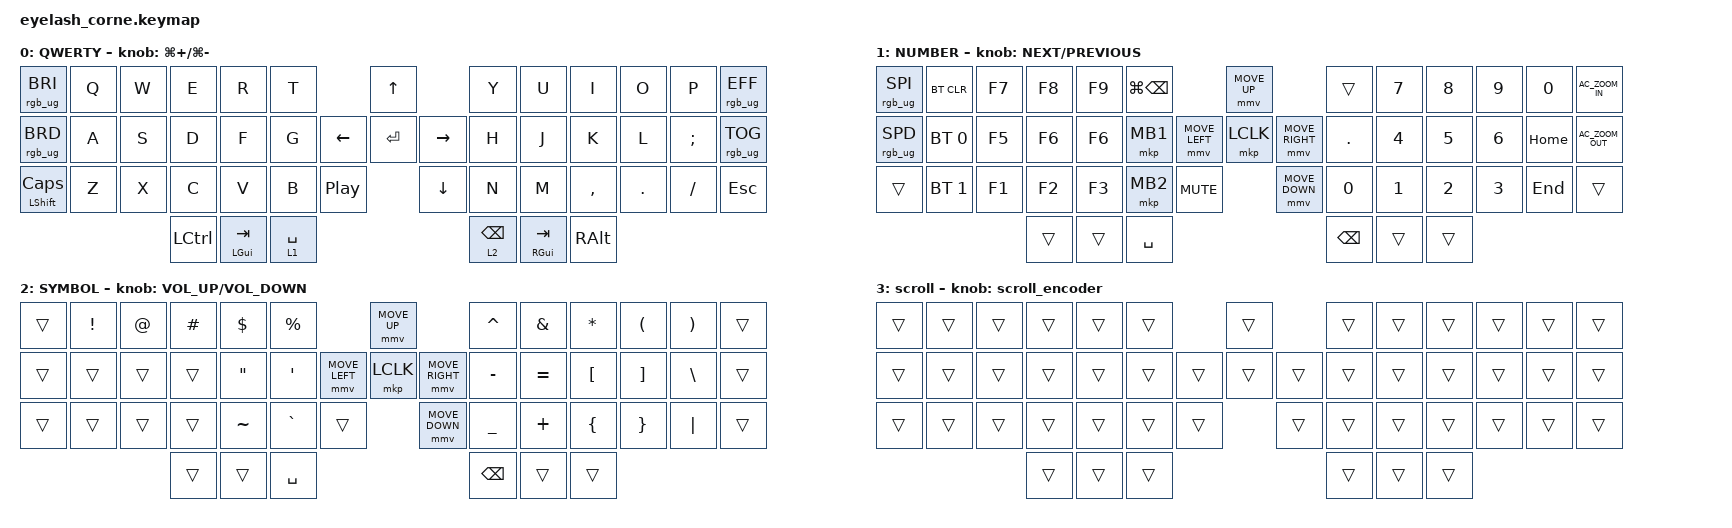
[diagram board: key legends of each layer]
#define ZMK_POINTING_DEFAULT_MOVE_VAL 600
#define ZMK_POINTING_DEFAULT_SCRL_VAL 10

#include <input/processors.dtsi>
#include <zephyr/dt-bindings/input/input-event-codes.h>
#include <behaviors.dtsi>
#include <dt-bindings/zmk/bt.h>
#include <dt-bindings/zmk/keys.h>
#include <dt-bindings/zmk/pointing.h>
#include <dt-bindings/zmk/rgb.h>

&mmv_input_listener { input-processors = <&zip_xy_scaler 2 1>; };

&msc_input_listener { input-processors = <&zip_scroll_scaler 2 1>; };

&msc {
    acceleration-exponent = <1>;      // 0
    time-to-max-speed-ms = <100>;       // 300
    delay-ms = <0>;                   // 0
};

&mmv {
    time-to-max-speed-ms = <500>;
    acceleration-exponent = <1>;
    trigger-period-ms = <16>;
};

&soft_off { hold-time-ms = <2000>; };

/ {
    behaviors {
        td0: td0 {
            compatible = "zmk,behavior-tap-dance";
            display-name = "Shift/Caps Lock Tap Dance";
            #binding-cells = <0>;
            bindings = <&kp LEFT_SHIFT>, <&kp CAPS>;
        };
    };

    rgb_encoder: rgb_encoder {
        compatible = "zmk,behavior-sensor-rotate";
        #sensor-binding-cells = <0>;
        bindings = <&rgb_ug RGB_BRI>, <&rgb_ug RGB_BRD>;
    };

    scroll_encoder: scroll_encoder {
        compatible = "zmk,behavior-sensor-rotate";
        #sensor-binding-cells = <0>;
        bindings = <&msc SCRL_DOWN>, <&msc SCRL_UP>;

        tap-ms = <100>;
    };

    combos {
        compatible = "zmk,combos";

        softoff {
            bindings = <&soft_off>;
            key-positions = <1 15 29>;
        };

        jkl {
            bindings = <&kp ENTER>;
            key-positions = <23 24 25>;
        };

        sdf {
            bindings = <&kp ENTER>;
            key-positions = <15 16 17>;
        };

        er {
            bindings = <&kp LC(SPACE)>;
            key-positions = <3 4>;
        };
    };

    keymap {
        compatible = "zmk,keymap";

        default_layer {
            display-name = "QWERTY";
            bindings = <
&rgb_ug RGB_BRI          &kp Q  &kp W  &kp E             &kp R             &kp T                                      &kp UP                &kp Y            &kp U              &kp I      &kp O    &kp P     &rgb_ug RGB_EFF
&rgb_ug RGB_BRD          &kp A  &kp S  &kp D             &kp F             &kp G                            &kp LEFT  &kp ENTER  &kp RIGHT  &kp H            &kp J              &kp K      &kp L    &kp SEMI  &rgb_ug RGB_TOG
&mt LEFT_SHIFT CAPSLOCK  &kp Z  &kp X  &kp C             &kp V             &kp B        &kp C_PLAY_PAUSE              &kp DOWN              &kp N            &kp M              &kp COMMA  &kp DOT  &kp FSLH  &kp ESC
                                       &kp LEFT_CONTROL  &mt LEFT_GUI TAB  &lt 1 SPACE                                                      &lt 2 BACKSPACE  &mt RIGHT_GUI TAB  &kp RALT
            >;

            sensor-bindings = <&inc_dec_kp LG(PLUS) LG(MINUS)>;
        };

        lower_layer {
            display-name = "NUMBER";
            bindings = <
&rgb_ug RGB_SPI  &bt BT_CLR    &kp F7  &kp F8  &kp F9  &kp LG(BACKSPACE)                                &mmv MOVE_UP                     &trans         &kp N7        &kp N8        &kp N9        &kp N0    &kp C_AC_ZOOM_IN
&rgb_ug RGB_SPD  &bt BT_SEL 0  &kp F5  &kp F6  &kp F6  &mkp MB1                         &mmv MOVE_LEFT  &mkp LCLK       &mmv MOVE_RIGHT  &kp PERIOD     &kp NUMBER_4  &kp NUMBER_5  &kp NUMBER_6  &kp HOME  &kp C_AC_ZOOM_OUT
&trans           &bt BT_SEL 1  &kp F1  &kp F2  &kp F3  &mkp MB2           &kp C_MUTE                    &mmv MOVE_DOWN                   &kp NUMBER_0   &kp NUMBER_1  &kp NUMBER_2  &kp NUMBER_3  &kp END   &trans
                                       &trans  &trans  &kp SPACE                                                                         &kp BACKSPACE  &trans        &trans
            >;

            sensor-bindings = <&inc_dec_kp C_NEXT C_PREVIOUS>;
        };

        raise_layer {
            display-name = "SYMBOL";
            bindings = <
&trans  &kp EXCL  &kp AT  &kp HASH  &kp DLLR           &kp PRCNT                            &mmv MOVE_UP                     &kp CARET      &kp AMPS   &kp ASTRK  &kp LPAR  &kp RPAR  &trans
&trans  &trans    &trans  &trans    &kp DOUBLE_QUOTES  &kp SQT              &mmv MOVE_LEFT  &mkp LCLK       &mmv MOVE_RIGHT  &kp MINUS      &kp EQUAL  &kp LBKT   &kp RBKT  &kp BSLH  &trans
&trans  &trans    &trans  &trans    &kp TILDE          &kp GRAVE  &trans                    &mmv MOVE_DOWN                   &kp UNDER      &kp PLUS   &kp LBRC   &kp RBRC  &kp PIPE  &trans
                          &trans    &trans             &kp SPACE                                                             &kp BACKSPACE  &trans     &trans
            >;

            sensor-bindings = <&inc_dec_kp C_VOLUME_UP C_VOLUME_DOWN>;
        };

        scroll {
            bindings = <
&trans  &trans  &trans  &trans  &trans  &trans                    &trans          &trans  &trans  &trans  &trans  &trans  &trans
&trans  &trans  &trans  &trans  &trans  &trans            &trans  &trans  &trans  &trans  &trans  &trans  &trans  &trans  &trans
&trans  &trans  &trans  &trans  &trans  &trans  &trans            &trans          &trans  &trans  &trans  &trans  &trans  &trans
                        &trans  &trans  &trans                                    &trans  &trans  &trans
            >;

            sensor-bindings = <&scroll_encoder>;
        };
    };

    conditional_layers { compatible = "zmk,conditional-layers"; };
};
